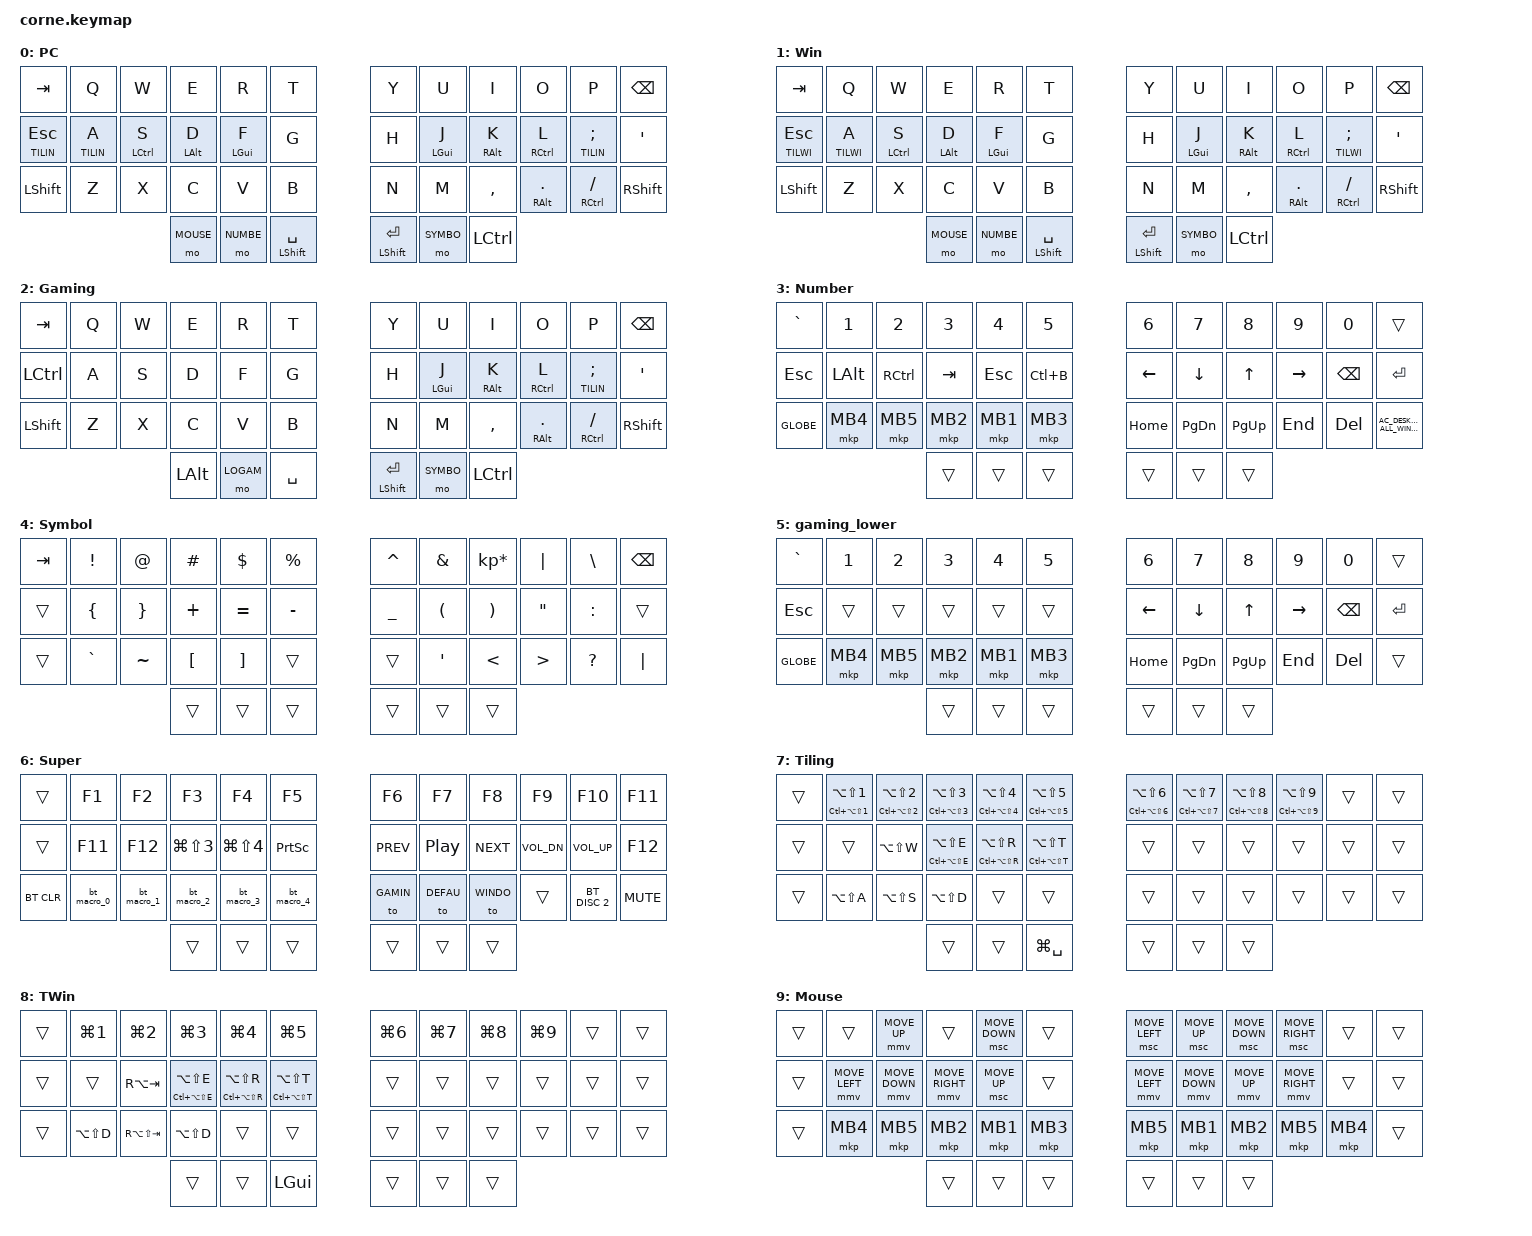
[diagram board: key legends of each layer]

#include <dt-bindings/zmk/mouse.h>
#include <behaviors.dtsi>
#include <dt-bindings/zmk/bt.h>
#include <dt-bindings/zmk/keys.h>

#define DEFAU 0
#define WINDO 1
#define GAMIN 2
#define NUMBE 3
#define SYMBO 4
#define LOGAM 5
#define SUPER 6
#define TILIN 7
#define TILWI 8
#define MOUSE 9



&kscan0 {
    debounce-press-ms = <1>;
    debounce-release-ms = <5>;
};

/ {
    conditional_layers {
        compatible = "zmk,conditional-layers";

        tri_layer {
            if-layers = <NUMBE SYMBO>;
            then-layer = <SUPER>;
        };

        tri_layer_gaming {
            if-layers = <SYMBO LOGAM>;
            then-layer = <SUPER>;
        };
    };

    behaviors {
        hm: homerow_mods {
            compatible = "zmk,behavior-hold-tap";
            label = "HOMEROW_MODS";
            #binding-cells = <2>;
            tapping-term-ms = <200>;
            quick-tap-ms = <0>;
            flavor = "tap-preferred";
            bindings = <&kp>, <&kp>;
        };

        hk: homerow_hold {
            compatible = "zmk,behavior-hold-tap";
            label = "HOLD_MOD";
            #binding-cells = <2>;
            tapping-term-ms = <150>;
            quick-tap-ms = <0>;
            flavor = "hold-preferred";
            bindings = <&kp>, <&kp>;
        };

        hs: hold_custom {
            compatible = "zmk,behavior-hold-tap";
            label = "HOLD_CUSTOM";
            #binding-cells = <2>;
            tapping-term-ms = <500>;
            quick-tap-ms = <0>;
            flavor = "tap-preferred";
            bindings = <&kp>, <&kp>;
        };
    };

    macros {
        bt_macro_0: bt_macro_0 {
            label = "bt_macro_0";
            compatible = "zmk,behavior-macro";
            #binding-cells = <0>;
            wait-ms = <0>;
            tap-ms = <0>;
            bindings = <&to DEFAU>,  <&bt BT_SEL 0>;
        };

        bt_macro_1: bt_macro_1 {
            label = "bt_macro_1";
            compatible = "zmk,behavior-macro";
            #binding-cells = <0>;
            wait-ms = <0>;
            tap-ms = <0>;
            bindings = <&to DEFAU>,  <&bt BT_SEL 1>;
        };

        bt_macro_2: bt_macro_2 {
            label = "bt_macro_2";
            compatible = "zmk,behavior-macro";
            #binding-cells = <0>;
            wait-ms = <0>;
            tap-ms = <0>;
            bindings = <&to DEFAU>,  <&bt BT_SEL 2>;
        };

        bt_macro_3: bt_macro_3 {
            label = "bt_macro_3";
            compatible = "zmk,behavior-macro";
            #binding-cells = <0>;
            wait-ms = <0>;
            tap-ms = <0>;
            bindings = <&to WINDO>,  <&bt BT_SEL 3>;
        };

        bt_macro_4: bt_macro_4 {
            label = "bt_macro_4";
            compatible = "zmk,behavior-macro";
            #binding-cells = <0>;
            wait-ms = <0>;
            tap-ms = <0>;
            bindings = <&to WINDO>,  <&bt BT_SEL 4>;
        };
    };

    keymap {
        compatible = "zmk,keymap";

        default_layer {
            label = "PC";
            bindings = <
&kp TAB    &kp Q    &kp W        &kp E       &kp R       &kp T              &kp Y          &kp U       &kp I       &kp O         &kp P           &kp BSPC
&lt TILIN ESC  &lt TILIN A  &hm LCTRL S  &hm LALT D  &hm LGUI F  &kp G              &kp H          &hm LGUI J  &hm RALT K  &hm RCTRL L   &lt TILIN SEMI      &kp SQT
&kp LSHFT  &kp Z    &kp X        &kp C       &kp V       &kp B              &kp N          &kp M       &kp COMMA   &hm RALT DOT  &hm RCTRL FSLH  &kp RSHFT
                                 &mo MOUSE       &mo NUMBE       &hm LSHFT SPACE    &hk LSHFT RET  &mo SYMBO       &kp LCTRL
            >;
        };

        windows {
            label = "Win";
            bindings = <
&kp TAB    &kp Q    &kp W        &kp E       &kp R       &kp T              &kp Y          &kp U       &kp I       &kp O         &kp P           &kp BSPC
&lt TILWI ESC  &lt TILWI A  &hm LCTRL S  &hm LALT D  &hm LGUI F  &kp G              &kp H          &hm LGUI J  &hm RALT K  &hm RCTRL L   &lt TILWI SEMI      &kp SQT
&kp LSHFT  &kp Z    &kp X        &kp C       &kp V       &kp B              &kp N          &kp M       &kp COMMA   &hm RALT DOT  &hm RCTRL FSLH  &kp RSHFT
                                 &mo MOUSE       &mo NUMBE       &hm LSHFT SPACE    &hk LSHFT RET  &mo SYMBO       &kp LCTRL
            >;
        };

        gaming_layer {
            label = "Gaming";
            bindings = <
&kp TAB    &kp Q  &kp W  &kp E         &kp R  &kp T        &kp Y          &kp U       &kp I       &kp O         &kp P           &kp BSPC
&kp LCTRL  &kp A  &kp S  &kp D         &kp F  &kp G        &kp H          &hm LGUI J  &hm RALT K  &hm RCTRL L   &lt TILIN SEMI      &kp SQT
&kp LSHFT  &kp Z  &kp X  &kp C         &kp V  &kp B        &kp N          &kp M       &kp COMMA   &hm RALT DOT  &hm RCTRL FSLH  &kp RSHFT
                         &kp LEFT_ALT  &mo LOGAM  &kp SPACE    &hk LSHFT RET  &mo SYMBO       &kp LCTRL
            >;
        };

        lower_layer {
            label = "Number";
            bindings = <
&kp GRAVE  &kp N1     &kp N2     &kp N3    &kp N4    &kp N5       &kp N6    &kp N7     &kp N8     &kp N9     &kp N0    &trans
&kp ESC    &kp LALT   &kp RCTRL  &kp TAB   &kp ESC   &kp LC(B)    &kp LEFT  &kp DOWN   &kp UP     &kp RIGHT  &kp BSPC  &kp RET
&kp GLOBE  &mkp MB4   &mkp MB5   &mkp MB2  &mkp MB1  &mkp MB3     &kp HOME  &kp PG_DN  &kp PG_UP  &kp END    &kp DEL   &kp C_AC_DESKTOP_SHOW_ALL_WINDOWS
                                 &trans    &trans    &trans       &trans    &trans     &trans
            >;
        };

        raise_layer {
            label = "Symbol";
            bindings = <
&kp TAB  &kp EXCL   &kp AT     &kp HASH  &kp DLLR   &kp PRCNT    &kp CARET  &kp AMPS  &kp KP_MULTIPLY  &kp PIPE  &kp BSLH   &kp BSPC
&trans   &kp LBRC   &kp RBRC   &kp PLUS  &kp EQUAL  &kp MINUS    &kp UNDER  &kp LPAR  &kp RPAR         &kp DQT   &kp COLON  &trans
&trans   &kp GRAVE  &kp TILDE  &kp LBKT  &kp RBKT   &trans       &trans     &kp SQT   &kp LT           &kp GT    &kp QMARK  &kp PIPE
                               &trans    &trans     &trans       &trans     &trans    &trans
            >;
        };

        gaming_lower {
            bindings = <
&kp GRAVE  &kp N1     &kp N2     &kp N3    &kp N4    &kp N5      &kp N6    &kp N7     &kp N8     &kp N9     &kp N0    &trans
&kp ESC    &trans     &trans     &trans    &trans    &trans      &kp LEFT  &kp DOWN   &kp UP     &kp RIGHT  &kp BSPC  &kp RET
&kp GLOBE  &mkp MB4   &mkp MB5   &mkp MB2  &mkp MB1  &mkp MB3    &kp HOME  &kp PG_DN  &kp PG_UP  &kp END    &kp DEL   &trans
                                 &trans    &trans    &trans      &trans    &trans     &trans
            >;
        };

        super_layer {
            label = "Super";
            bindings = <
&trans      &kp F1        &kp F2        &kp F3          &kp F4          &kp F5          &kp F6      &kp F7    &kp F8      &kp F9        &kp F10       &kp F11
&trans      &kp F11       &kp F12       &kp LG(LS(N3))  &kp LG(LS(N4))  &kp PSCRN       &kp C_PREV  &kp C_PP  &kp C_NEXT  &kp C_VOL_DN  &kp C_VOL_UP  &kp F12
&bt BT_CLR  &bt_macro_0   &bt_macro_1   &bt_macro_2     &bt_macro_3     &bt_macro_4     &to GAMIN      &to DEFAU    &to WINDO      &trans        &bt BT_DISC 2 &kp C_MUTE
                                        &trans          &trans          &trans          &trans      &trans    &trans
            >;
        };

        tiling_layer {
            label = "Tiling";
            bindings = <
&trans  &hs LC(LA(LS(N1))) LA(LS(N1))  &hs LC(LA(LS(N2))) LA(LS(N2))  &hs LC(LA(LS(N3))) LA(LS(N3))  &hs LC(LA(LS(N4))) LA(LS(N4))  &hs LC(LA(LS(N5))) LA(LS(N5))    &hs LC(LA(LS(N6))) LA(LS(N6))  &hs LC(LA(LS(N7))) LA(LS(N7))  &hs LC(LA(LS(N8))) LA(LS(N8))  &hs LC(LA(LS(N9))) LA(LS(N9))  &trans  &trans
&trans  &trans                         &kp LA(LS(W))                  &hs LC(LA(LS(E))) LA(LS(E))    &hs LC(LA(LS(R))) LA(LS(R))    &hs LC(LA(LS(T))) LA(LS(T))      &trans                         &trans                         &trans                         &trans                         &trans  &trans
&trans  &kp LA(LS(A))                  &kp LA(LS(S))                  &kp LA(LS(D))                  &trans                         &trans                           &trans                         &trans                         &trans                         &trans                         &trans  &trans
                                                                      &trans                         &trans                         &kp LG(SPACE)                    &trans                         &trans                         &trans
            >;
        };

        tiling_win_layer {
            label = "TWin";
            bindings = <
&trans  &kp LG(N1)    &kp LG(N2)      &kp LG(N3)                  &kp LG(N4)                  &kp LG(N5)                    &kp LG(N6)   &kp LG(N7)  &kp LG(N8)  &kp LG(N9) &trans  &trans
&trans  &trans        &kp RA(TAB)     &hs LC(LA(LS(E))) LA(LS(E)) &hs LC(LA(LS(R))) LA(LS(R)) &hs LC(LA(LS(T))) LA(LS(T))   &trans       &trans      &trans      &trans                         &trans  &trans
&trans  &kp LA(LS(D)) &kp RA(LS(TAB)) &kp LA(LS(D))               &trans                      &trans                        &trans       &trans      &trans                      &trans                      &trans  &trans
                                                                  &trans                      &trans                         &kp LGUI                    &trans                         &trans                         &trans
            >;
        };

        mouse_layer {
            label = "Mouse";
            bindings = <
&trans          &trans          &mmv MOVE_UP    &trans          &msc MOVE_DOWN  &trans              &msc MOVE_LEFT  &msc MOVE_UP    &msc MOVE_DOWN    &msc MOVE_RIGHT &trans          &trans
&trans          &mmv MOVE_LEFT  &mmv MOVE_DOWN  &mmv MOVE_RIGHT &msc MOVE_UP    &trans              &mmv MOVE_LEFT  &mmv MOVE_DOWN  &mmv MOVE_UP    &mmv MOVE_RIGHT &trans          &trans
&trans          &mkp MB4        &mkp MB5        &mkp MB2        &mkp MB1        &mkp MB3            &mkp MB5        &mkp MB1        &mkp MB2        &mkp MB5        &mkp MB4        &trans
                                 &trans    &trans    &trans       &trans    &trans     &trans
            >;
        };
    };
};
